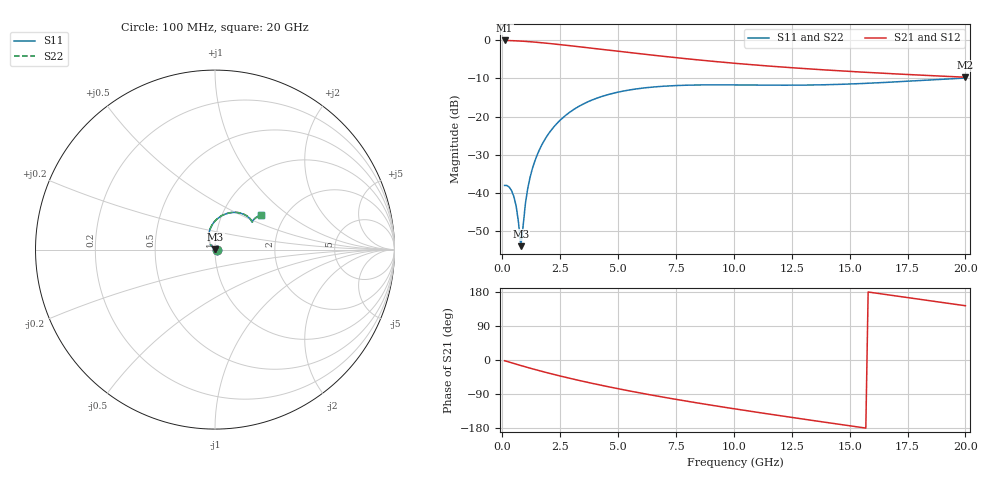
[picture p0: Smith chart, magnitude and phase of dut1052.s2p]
! Touchstone file exported from HFSS 2024.1.0
!  File:  C:/UserFiles/LocalFiles/RDL_TSV_Batchsim/temp_RDL_TSV_1052_1780088831.aedt
!  Generated:  05:22:25 AM May 30, 2026
!  Design:  RDL_TSV
!  Project:  temp_RDL_TSV_1052_1780088831
!  Setup:  Setup1
!  Solution:  Sweep
! Variables:
!  dtsv = 8.98um
!  hbump = 3um
!  htsv = 93.13um
!  ldown = 163.71um
!  lrdl = 623.6um
!  p = 40
!  p1 = 46.68um
!  rhole = 10um
!  subl = 2985.53um
!  t = 450um
!  tdown = 4.24um
!  trdl = 4.29um
!  viad = 10um
!  wdown = 19.79um
!  wrdl = 21.89um
!  xbump = 18um
# GHz S MA R 50.000000
! Terminal data exported
! Port[1] = TM1_1_T1
! Port[2] = TM1_4_T1
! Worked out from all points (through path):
!   200 points, 100 MHz to 20 GHz, reference 50 ohm
!   highest |S21| = -0.11 dB at 100 MHz (marker M1); lowest = -9.7 dB at 20 GHz (marker M2)
!   group delay of S21, straight-line fit = 28.5 ps
!   lowest |S11| = -53.9 dB at 800 MHz (marker M3), VSWR 1.00, Z = 50.1 + j0.163 ohm
!   |S11| at or under -10 dB: start of sweep to 19.79 GHz
!   |S22| runs from -53.9 to -9.9 dB; largest |S21 - S12| = 1e-14
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0.1  0.01258 1.7  0.9869 -1.9  0.9869 -1.9  0.01258 1.7
! Gamma 0 0 0 0
! Port Impedance 50 0 50 0
0.3  0.01198 -0.1  0.9835 -5.6  0.9835 -5.6  0.01198 -0.1
0.4  0.01077 -1.7  0.9812 -7.4  0.9812 -7.4  0.01076 -1.7
0.5  0.008989 -2.5  0.9786 -9.2  0.9786 -9.2  0.008974 -2.5
0.6  0.006737 -1.1  0.9756 -11.0  0.9756 -11.0  0.006716 -1.0
0.7  0.004151 7.3  0.9722 -12.8  0.9722 -12.8  0.004125 7.5
0.8  0.002024 53.5  0.9685 -14.6  0.9685 -14.6  0.002014 54.5
1  0.007377 134.8  0.9599 -18.1  0.9599 -18.1  0.007432 135.0
1.1  0.01155 137.8  0.9552 -19.8  0.9552 -19.8  0.01162 137.8
1.3  0.02087 136.8  0.9449 -23.2  0.9449 -23.2  0.02096 136.8
1.6  0.03662 131.4  0.9279 -28.2  0.9279 -28.2  0.03675 131.4
2  0.05967 122.9  0.9032 -34.6  0.9032 -34.6  0.05987 123.0
2.4  0.08367 114.5  0.8773 -40.8  0.8773 -40.8  0.08393 114.6
2.9  0.1132 104.7  0.8444 -48.1  0.8444 -48.1  0.1136 104.8
3.5  0.146 94.1  0.8054 -56.5  0.8054 -56.5  0.1465 94.2
4.9  0.2052 74.1  0.7195 -74.5  0.7195 -74.5  0.2059 74.1
6.8  0.247 55.3  0.6195 -96.4  0.6195 -96.4  0.248 55.3
8.4  0.2584 45.3  0.5518 -113.1  0.5518 -113.1  0.2596 45.3
10.1  0.259 39.2  0.4948 -129.5  0.4948 -129.5  0.2602 39.2
13.4  0.2585 36.6  0.4165 -159.5  0.4165 -159.5  0.2598 36.5
16.7  0.2808 38.1  0.3645 171.6  0.3645 171.6  0.2819 37.9
20  0.3186 36.7  0.3267 143.2  0.3267 143.2  0.3196 36.5
